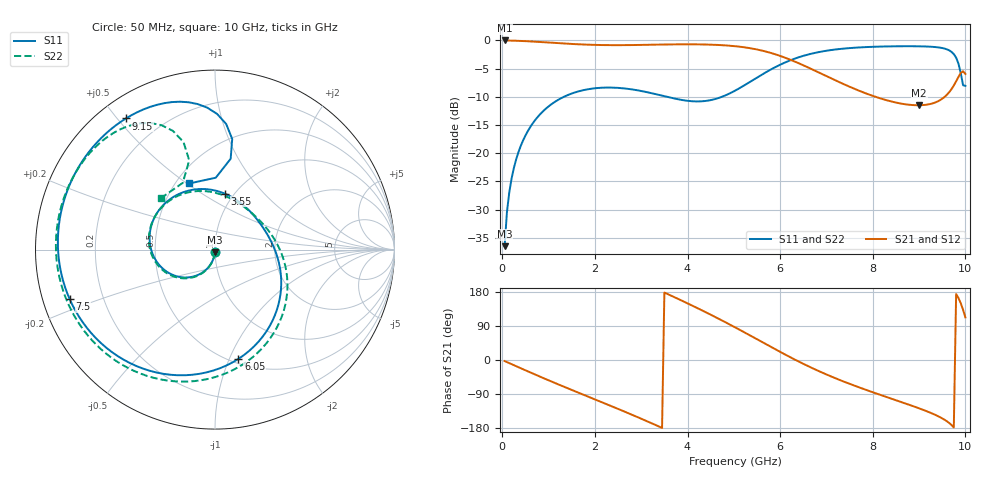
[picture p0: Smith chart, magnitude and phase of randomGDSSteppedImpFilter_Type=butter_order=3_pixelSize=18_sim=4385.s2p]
! freq	dB(S11)	phase(S11)	dB(S12)	phase(S12)
!  dB(S21)	phase(S21)	dB(S22)	phase(S22)
!S-par simulation data
#  GHz  S  DB  R 50
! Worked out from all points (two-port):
!   200 points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, 50 MHz to 10 GHz, reference 50 ohm
!   highest |S21| = -0.01 dB at 50 MHz (marker M1); lowest = -11.5 dB at 9 GHz (marker M2)
!   |S21| within 3 dB of the highest: start of sweep to 6.088 GHz
!   lowest |S11| = -36.5 dB at 50 MHz (marker M3), VSWR 1.03, Z = 49.9 - j1.5 ohm
!   |S11| at or under -10 dB: start of sweep to 1.329 GHz; 3.555 GHz to 4.742 GHz (1.187 GHz wide, 28.6 % of centre)
!   |S22| runs from -36.5 to -1.0 dB; largest |S21 - S12| = 0
!   S11 on the Smith chart (normalised r, x): 50 MHz: 1.00, -0.03; 3.55 GHz: 0.91, +0.63; 6.05 GHz: 0.54, -1.08; 7.5 GHz: 0.08, -0.17; 9.15 GHz: 0.08, +0.53; 10 GHz: 0.58, +0.51
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0.05  -36.48 -92.4  -0.01 -2.8  -0.01 -2.8  -36.48 -92.3
0.1  -30.48 -95.6  -0.01 -5.5  -0.01 -5.5  -30.48 -95.4
0.2  -24.51 -101.4  -0.03 -11.0  -0.03 -11.0  -24.51 -101.1
0.5  -16.86 -118.3  -0.13 -27.2  -0.13 -27.2  -16.86 -117.3
1.1  -11.08 -150.4  -0.43 -58.8  -0.43 -58.8  -11.08 -148.3
1.75  -8.82 176.0  -0.72 -91.5  -0.72 -91.5  -8.82 179.7
2.55  -8.44 134.9  -0.84 -131.6  -0.84 -131.6  -8.44 140.8
3.4  -9.70 88.7  -0.74 -176.5  -0.74 -176.5  -9.70 97.7
3.55  -9.99 80.1  -0.72 175.2  -0.72 175.2  -9.99 89.7
3.95  -10.65 56.6  -0.69 152.4  -0.69 152.4  -10.66 67.6
4.4  -10.72 29.4  -0.73 125.7  -0.73 125.7  -10.73 41.1
5.05  -8.80 -11.5  -1.04 84.7  -1.04 84.7  -8.80 -0.6
5.6  -6.09 -47.8  -1.79 48.1  -1.79 48.1  -6.08 -37.8
6.05  -4.12 -77.9  -2.89 18.2  -2.89 18.2  -4.10 -68.0
6.7  -2.30 -118.4  -5.16 -21.8  -5.16 -21.8  -2.28 -107.6
7.5  -1.36 -161.1  -8.21 -62.9  -8.21 -62.9  -1.33 -148.0
8.35  -1.06 159.8  -10.72 -99.8  -10.72 -99.8  -1.04 176.3
9  -1.04 131.1  -11.50 -127.5  -11.50 -127.5  -1.04 150.7
9.15  -1.08 124.2  -11.41 -134.5  -11.41 -134.5  -1.08 144.6
9.75  -2.43 89.1  -7.99 -177.9  -7.99 -177.9  -2.45 113.2
9.9  -5.79 80.2  -5.78 149.9  -5.78 149.9  -5.72 106.1
10  -8.06 111.4  -5.94 112.4  -5.94 112.4  -7.63 136.3
